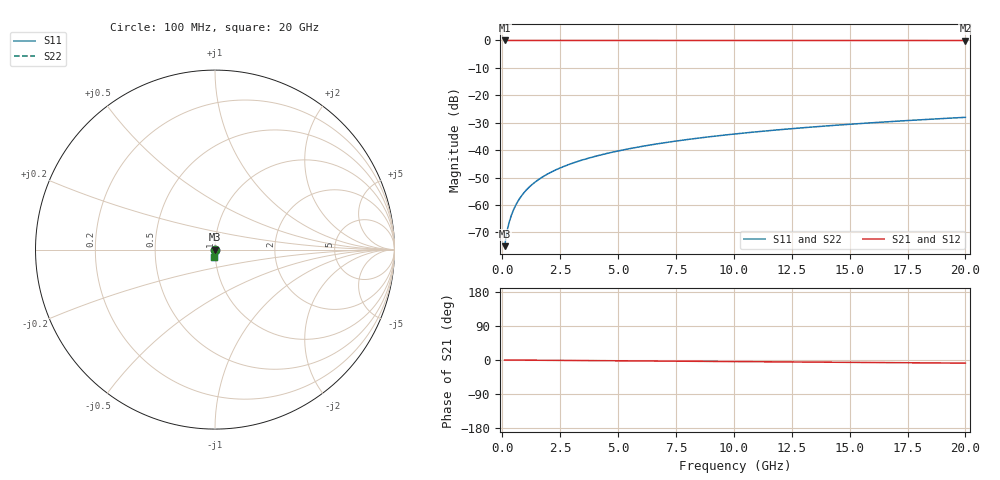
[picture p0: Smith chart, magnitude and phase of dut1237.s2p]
! Touchstone file exported from HFSS 2026.1.0
!  File:  C:/ffzhzh/LocalFiles/Ansys_Project_Files/temp_train_TSV_1237_1783193377_51560.aedt
!  Generated:  03:31:00 AM Jul  5, 2026
!  Design:  TSV
!  Project:  temp_train_TSV_1237_1783193377_51560
! Variables:
!  h_bsmrdl = 2um
!  h_ox = 20um
!  h_rdl = 5um
!  h_sub = 82.07um
!  h_tmrdl = 5um
!  h_tsv = 82.07um
!  h_via = 3um
!  l_bsmrdl = 300um
!  l_sub = 426.62um
!  l_tmrdl = 200um
!  m_sub = 200um
!  pitch = 41.46um
!  r_tsv = 13.31um
!  s_tmrdl = 10um
!  w_bsmrdl = 18um
!  w_sub = 500um
!  w_tmrdl = 12um
!  x_tsv_center1 = 206um
!  x_tsv_center2 = 524um
!  x_tsv_center3 = 736um
!  x_tsv_center4 = 1054um
!  x_tsv_center5 = 1266um
!  x_tsv_center6 = 1584um
# GHz S MA R 50.000000
! Terminal data exported
! Port[1] = TSV1_1_T1
! Port[2] = TSV1_1_T2
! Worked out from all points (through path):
!   200 points, 100 MHz to 20 GHz, reference 50 ohm
!   highest |S21| = 0.00 dB at 100 MHz (marker M1); lowest = 0.0 dB at 20 GHz (marker M2)
!   group delay of S21, straight-line fit = 1.15 ps
!   lowest |S11| = -75.0 dB at 100 MHz (marker M3), VSWR 1.00, Z = 50 - j0.0153 ohm
!   |S11| at or under -10 dB: start of sweep to end of sweep
!   |S22| runs from -75.0 to -28.0 dB; largest |S21 - S12| = 1.4e-15
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0.1  0.000177 -59.6  0.9999 -0.0  0.9999 -0.0  0.000177 -59.6
! Gamma 0 0 0 0
! Port Impedance 50 0 50 0
0.2  0.0003265 -71.4  0.9999 -0.1  0.9999 -0.1  0.0003265 -71.4
0.3  0.0004895 -75.1  0.9999 -0.1  0.9999 -0.1  0.0004895 -75.1
0.4  0.0006618 -76.9  0.9998 -0.2  0.9998 -0.2  0.0006618 -76.9
0.5  0.0008415 -78.0  0.9998 -0.2  0.9998 -0.2  0.0008415 -78.0
0.7  0.001216 -79.6  0.9998 -0.3  0.9998 -0.3  0.001216 -79.6
0.8  0.001408 -80.3  0.9998 -0.3  0.9998 -0.3  0.001408 -80.3
1  0.001797 -81.5  0.9997 -0.4  0.9997 -0.4  0.001797 -81.5
1.2  0.002188 -82.4  0.9997 -0.5  0.9997 -0.5  0.002188 -82.4
1.4  0.002579 -83.3  0.9997 -0.6  0.9997 -0.6  0.002579 -83.3
1.7  0.003166 -84.3  0.9996 -0.7  0.9996 -0.7  0.003166 -84.3
2  0.003753 -85.0  0.9996 -0.8  0.9996 -0.8  0.003753 -85.0
2.7  0.005122 -86.3  0.9996 -1.1  0.9996 -1.1  0.005122 -86.3
3.5  0.00669 -87.3  0.9995 -1.5  0.9995 -1.5  0.00669 -87.3
4.2  0.008068 -88.0  0.9994 -1.8  0.9994 -1.8  0.008068 -88.0
5  0.009649 -88.7  0.9994 -2.1  0.9994 -2.1  0.009649 -88.7
6.8  0.01323 -89.9  0.9992 -2.8  0.9992 -2.8  0.01323 -89.9
8.3  0.01622 -90.8  0.9991 -3.4  0.9991 -3.4  0.01622 -90.8
10.1  0.01981 -91.8  0.999 -4.2  0.999 -4.2  0.01981 -91.8
13.4  0.02641 -93.5  0.9987 -5.6  0.9987 -5.6  0.02641 -93.5
16.7  0.03301 -95.1  0.9984 -6.9  0.9984 -6.9  0.03301 -95.1
20  0.03962 -96.6  0.998 -8.3  0.998 -8.3  0.03962 -96.6
